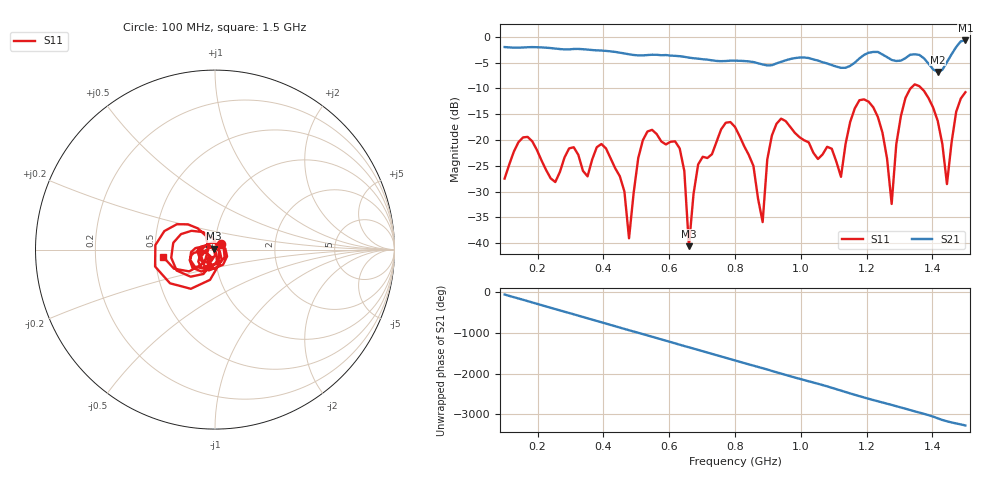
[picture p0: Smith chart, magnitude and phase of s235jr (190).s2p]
! NanoVNA-App
! Date: 2025-09-25 15:05:38
! Start: 100MHz Stop: 1,5GHz Points: 101
! S-Parameter data: F S11 S21 S12 S22
# Hz S RI R 50
!  Frequency  S11_Real  S11_Imag  S21_Real  S21_Imag  S12_Real  S12_Imag  S22_Real  S22_Imag
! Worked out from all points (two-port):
!   101 points, 100 MHz to 1.5 GHz, reference 50 ohm
!   highest |S21| = -0.69 dB at 1.5 GHz (marker M1); lowest = -6.8 dB at 1.416 GHz (marker M2)
!   |S21| within 3 dB of the highest: start of sweep to 621.7 MHz; 1.188 GHz to 1.256 GHz (67.72 MHz wide, 5.54 % of centre) (the widest 2 of 4)
!   lowest |S11| = -40.6 dB at 660 MHz (marker M3), VSWR 1.02, Z = 49.3 + j0.565 ohm
!   |S11| at or under -10 dB: start of sweep to 1.333 GHz; 1.367 GHz to end of sweep
!   S12 and S22 are empty: the file has one direction only
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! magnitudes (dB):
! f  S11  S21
! 100 MHz  -27.5  -2.0
! 170 MHz  -19.4  -2.0
! 338 MHz  -26.0  -2.4
! 408 MHz  -21.6  -2.7
! 478 MHz  -39.0  -3.4
! 520 MHz  -20.0  -3.6
! 576 MHz  -20.3  -3.5
! 632 MHz  -21.6  -3.7
! 660 MHz  -40.6  -4.0
! 688 MHz  -24.7  -4.2
! 800 MHz  -17.5  -4.6
! 884 MHz  -35.9  -5.3
! 926 MHz  -16.9  -5.1
! 1.038 GHz  -22.5  -4.4
! 1.122 GHz  -27.1  -6.0
! 1.164 GHz  -13.8  -5.0
! 1.206 GHz  -12.6  -3.1
! 1.276 GHz  -32.4  -4.5
! 1.332 GHz  -10.1  -3.5
! 1.416 GHz  -16.3  -6.8
! 1.444 GHz  -28.5  -4.9
! 1.5 GHz  -10.7  -0.7
